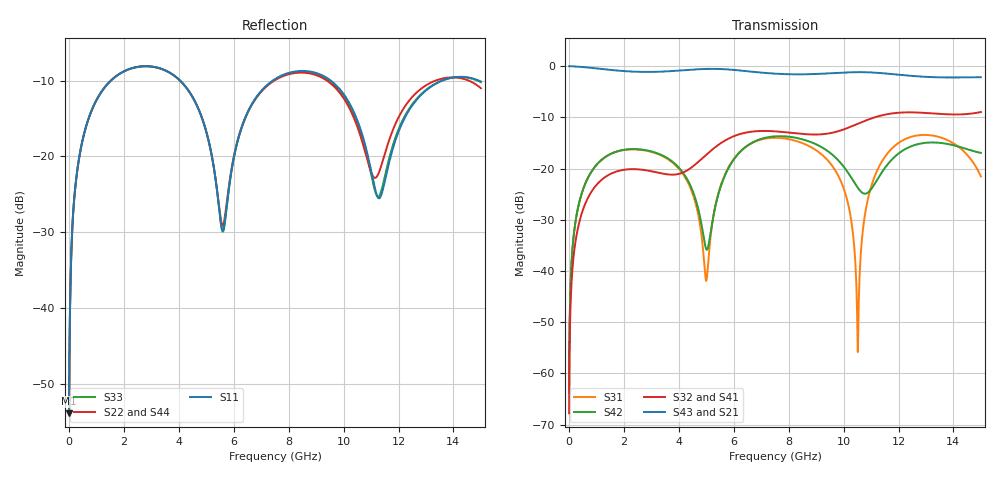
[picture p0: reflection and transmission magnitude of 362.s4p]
! Created with skrf 1.8.0 (http://scikit-rf.org).
# GHz S RI R 50.0
!freq ReS11 ImS11 ReS12 ImS12 ReS13 ImS13
! ReS14 ImS14
! ReS21 ImS21 ReS22 ImS22 ReS23 ImS23
! ReS24 ImS24
! ReS31 ImS31 ReS32 ImS32 ReS33 ImS33
! ReS34 ImS34
! ReS41 ImS41 ReS42 ImS42 ReS43 ImS43
! ReS44 ImS44
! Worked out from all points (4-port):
!   2499 points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, 5 MHz to 15 GHz, reference 50 ohm
!   strongest paths, dB at 5 MHz, 3.476 GHz, 7.19 GHz, 11.1 GHz, 15 GHz:
!     S43: 0.0, -1.1, -1.4, -1.3, -2.2
!     S21: 0.0, -1.1, -1.4, -1.3, -2.2
!     S32: -67.8, -21.1, -12.7, -10.1, -9.0
!     S41: -67.8, -21.1, -12.7, -10.1, -9.0
!     S42: -63.8, -17.6, -13.9, -23.3, -16.9
!     S31: -63.8, -17.8, -14.1, -22.0, -21.5
!   lowest |S11| = -53.9 dB at 5 MHz (marker M1), VSWR 1.00, Z = 50.2 + j0.122 ohm
!   |S11| at or under -10 dB: start of sweep to 1.52 GHz; 4.052 GHz to 7.412 GHz (3.36 GHz wide, 58.6 % of centre); 9.539 GHz to 13.58 GHz (4.041 GHz wide, 35 % of centre)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
0.005  0.0016 0.00122  0.9984 -0.00312  8.06e-05 0.000639  -7.83e-05 -0.0004
       0.9984 -0.00312  0.0016 0.00122  -7.83e-05 -0.0004  8.06e-05 0.000639
       8.06e-05 0.000639  -7.83e-05 -0.0004  0.0016 0.00122  0.9984 -0.00312
       -7.83e-05 -0.0004  8.06e-05 0.000639  0.9984 -0.00312  0.0016 0.00122
1.569404  0.2675 0.1799  0.5561 -0.7259  0.1255 0.0633  -0.0897 -0.00747
          0.5561 -0.7259  0.2669 0.1802  -0.0897 -0.00743  0.1272 0.0609
          0.1255 0.0633  -0.0897 -0.00743  0.2675 0.1799  0.5562 -0.7259
          -0.0897 -0.00747  0.1272 0.0609  0.5562 -0.7259  0.2669 0.1802
4.995832  0.0737 -0.1271  -0.8559 -0.384  -0.0077 -0.00222  -0.0521 0.1258
          -0.8559 -0.384  0.0757 -0.1249  -0.0517 0.126  -0.0151 -0.00645
          -0.0077 -0.00222  -0.0517 0.126  0.0735 -0.1274  -0.8557 -0.3842
          -0.0521 0.1258  -0.0151 -0.00645  -0.8557 -0.3842  0.0761 -0.1249
8.741142  0.3603 -0.0552  0.0289 0.8314  0.1514 -0.0672  0.2013 -0.0743
          0.0289 0.8314  0.351 -0.0459  0.2017 -0.0759  0.1491 -0.1079
          0.1514 -0.0672  0.2017 -0.0759  0.3561 -0.0526  0.0286 0.833
          0.2013 -0.0743  0.1491 -0.1079  0.0286 0.833  0.3472 -0.0476
10.51688  0.1053 -0.1339  0.7373 0.4649  0.00161 9.37e-05  0.1397 -0.2348
          0.7373 0.4649  0.1112 -0.1068  0.1373 -0.2365  -0.0519 -0.0391
          0.00161 9.37e-05  0.1373 -0.2365  0.1041 -0.1269  0.7388 0.4646
          0.1397 -0.2348  -0.0519 -0.0391  0.7388 0.4646  0.1049 -0.1031
11.72363  0.0778 0.0651  0.8299 -0.1192  0.0985 0.1177  -0.0709 -0.3365
          0.8299 -0.1192  0.1099 0.0838  -0.0742 -0.3358  0.0365 0.1139
          0.0985 0.1177  -0.0742 -0.3358  0.0807 0.0702  0.8294 -0.1198
          -0.0709 -0.3365  0.0365 0.1139  0.8294 -0.1198  0.1081 0.0904
15  0.3026 -0.0771  -0.2367 -0.7413  0.0167 -0.0822  -0.3334 0.1241
    -0.2367 -0.7413  0.2668 -0.0916  -0.332 0.1287  -0.028 -0.1395
    0.0167 -0.0822  -0.332 0.1287  0.3007 -0.0724  -0.2351 -0.7429
    -0.3334 0.1241  -0.028 -0.1395  -0.2351 -0.7429  0.263 -0.0922
